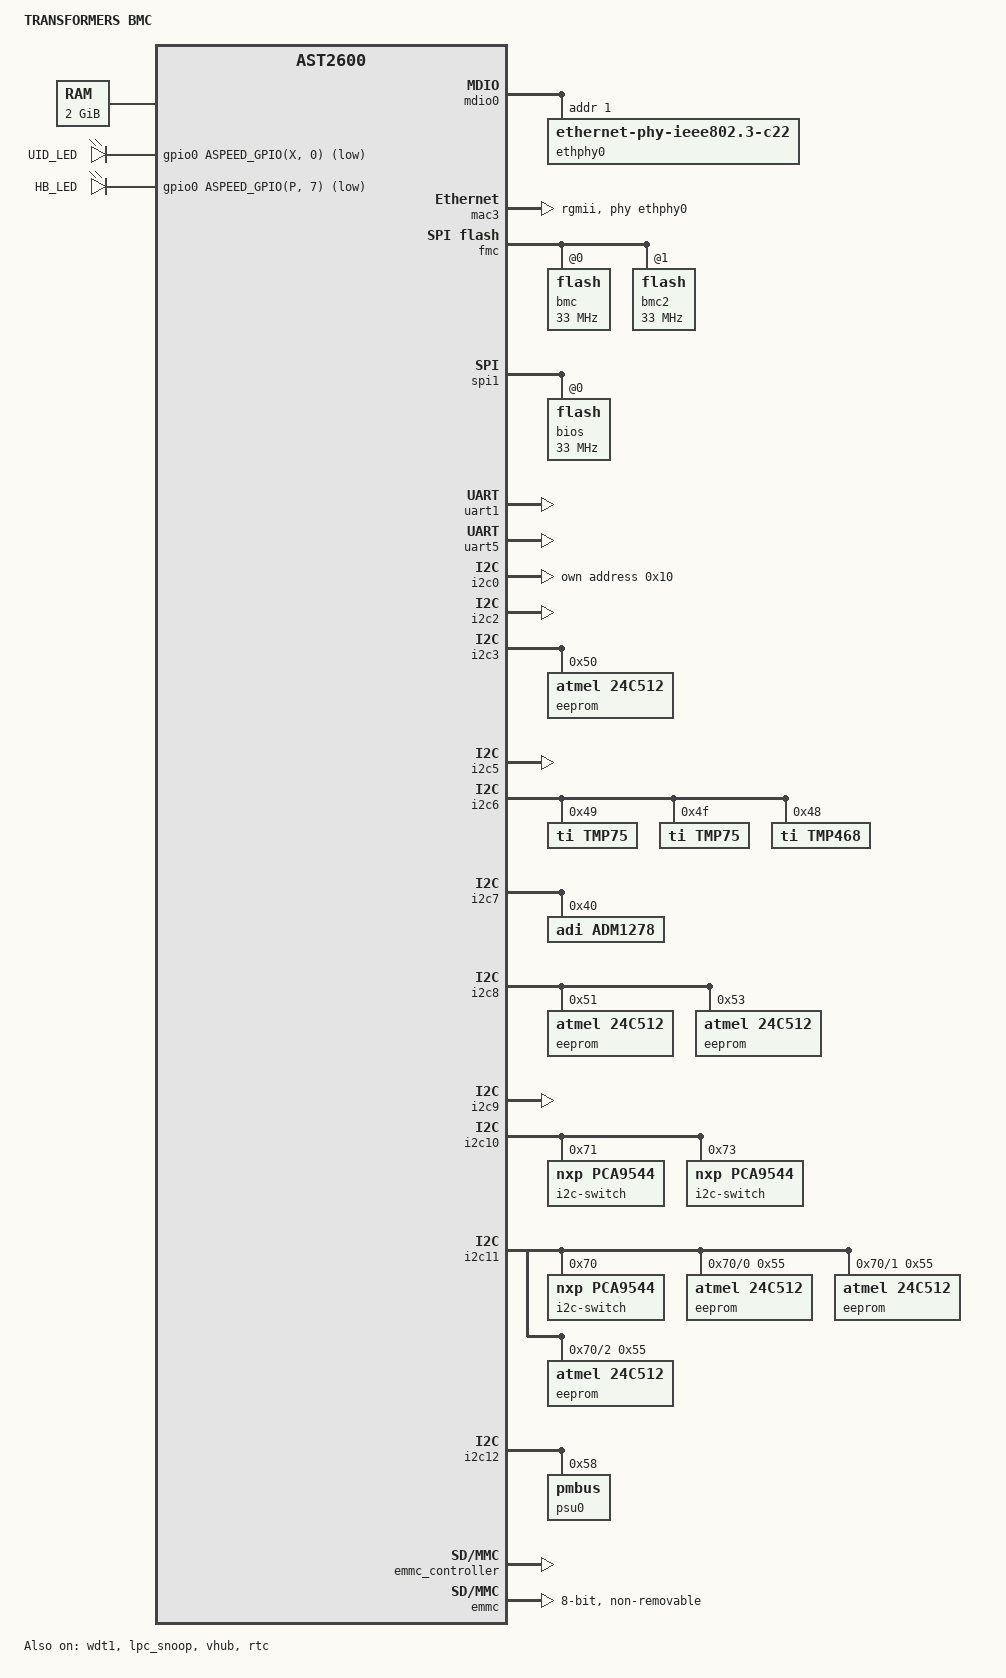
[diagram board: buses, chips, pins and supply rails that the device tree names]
// SPDX-License-Identifier: GPL-2.0-or-later
// Copyright 2021 Inventec Corp.

/dts-v1/;

#include "aspeed-g6.dtsi"
#include "aspeed-g6-pinctrl.dtsi"
#include <dt-bindings/i2c/i2c.h>
#include <dt-bindings/gpio/aspeed-gpio.h>

/ {
       model = "TRANSFORMERS BMC";
       compatible = "inventec,transformer-bmc", "aspeed,ast2600";

       aliases {
               serial4 = &uart5;
       };

       chosen {
               stdout-path = &uart5;
               bootargs = "console=ttyS4,115200n8";
       };

       memory@80000000 {
               device_type = "memory";
               reg = <0x80000000 0x80000000>;
       };

       leds {
               compatible = "gpio-leds";

               // UID led
               uid {
                       label = "UID_LED";
                       gpios = <&gpio0 ASPEED_GPIO(X, 0) GPIO_ACTIVE_LOW>;
               };

               // Heart beat led
               heartbeat {
                       label = "HB_LED";
                       gpios = <&gpio0 ASPEED_GPIO(P, 7) GPIO_ACTIVE_LOW>;
               };
       };
};

&mdio0 {
       status = "okay";

       ethphy0: ethernet-phy@0 {
               compatible = "ethernet-phy-ieee802.3-c22";
               reg = <1>;
       };
};

&mac3 {
       status = "okay";
       phy-mode = "rgmii";
       phy-handle = <&ethphy0>;
       pinctrl-names = "default";
       pinctrl-0 = <&pinctrl_rgmii4_default>;
};

&fmc {
       status = "okay";

       flash@0 {
               status = "okay";
               m25p,fast-read;
               label = "bmc";
               spi-max-frequency = <33000000>;
               spi-tx-bus-width = <2>;
               spi-rx-bus-width = <2>;
#include "openbmc-flash-layout.dtsi"
       };

       flash@1 {
               status = "okay";
               m25p,fast-read;
               label = "bmc2";
               spi-max-frequency = <33000000>;
               spi-tx-bus-width = <2>;
               spi-rx-bus-width = <2>;
       };
};

&spi1 {
       status = "okay";
       pinctrl-names = "default";
       pinctrl-0 = <&pinctrl_spi1_default>;

       flash@0 {
               status = "okay";
               m25p,fast-read;
               label = "bios";
               spi-max-frequency = <33000000>;
               spi-tx-bus-width = <1>;
               spi-rx-bus-width = <1>;
       };
};

&wdt1 {
       status = "okay";
};

&uart1 {
       status = "okay";
};

&uart5 {
       status = "okay";
};

&i2c0 {
       status = "okay";

       //Set bmc' slave address;
       bmc_slave@10 {
               compatible = "ipmb-dev";
               reg = <(0x10 | I2C_OWN_SLAVE_ADDRESS)>;
               i2c-protocol;
       };
};

&i2c2 {
       status = "okay";
};

&i2c3 {
       // FRU AT24C512C-SSHM-T
       status = "okay";
       eeprom@50 {
               compatible = "atmel,24c512";
               reg = <0x50>;
               pagesize = <128>;
       };
};

&i2c5 {
       status = "okay";
};

&i2c6 {
       status = "okay";

       tmp75@49 {
               compatible = "ti,tmp75";
               reg = <0x49>;
       };

       tmp75@4f {
               compatible = "ti,tmp75";
               reg = <0x4f>;
       };

       tmp468@48 {
               compatible = "ti,tmp468";
               reg = <0x48>;
       };
};

&i2c7 {
       status = "okay";
       adm1278@40 {
               compatible = "adi,adm1278";
               reg = <0x40>;
       };
};


&i2c8 {
       // FRU AT24C512C-SSHM-T
       status = "okay";

       eeprom@51 {
               compatible = "atmel,24c512";
               reg = <0x51>;
               pagesize = <128>;
       };

       eeprom@53 {
               compatible = "atmel,24c512";
               reg = <0x53>;
               pagesize = <128>;
       };
};

&i2c9 {
       // M.2
       status = "okay";
};

&i2c10 {
       // I2C EXPANDER
       status = "okay";

       i2c-switch@71 {
               compatible = "nxp,pca9544";
               #address-cells = <1>;
               #size-cells = <0>;
               reg = <0x71>;
       };

       i2c-switch@73 {
               compatible = "nxp,pca9544";
               #address-cells = <1>;
               #size-cells = <0>;
               reg = <0x73>;
       };
};

&i2c11 {
       // I2C EXPANDER
       status = "okay";

       i2c-switch@70 {
               compatible = "nxp,pca9544";
               #address-cells = <1>;
               #size-cells = <0>;
               reg = <0x70>;

               pcie_eeprom_riser1: i2c@0 {
                       #address-cells = <1>;
                       #size-cells = <0>;
                       reg = <0>;

                       eeprom@55 {
                               compatible = "atmel,24c512";
                               reg = <0x55>;
                               pagesize = <128>;
                       };
               };

               pcie_eeprom_riser2: i2c@1 {
                       #address-cells = <1>;
                       #size-cells = <0>;
                       reg = <1>;

                       eeprom@55 {
                               compatible = "atmel,24c512";
                               reg = <0x55>;
                               pagesize = <128>;
                       };
               };

               pcie_eeprom_riser3: i2c@2 {
                       #address-cells = <1>;
                       #size-cells = <0>;
                       reg = <2>;

                       eeprom@55 {
                               compatible = "atmel,24c512";
                               reg = <0x55>;
                               pagesize = <128>;
                       };
               };
       };
};

&i2c12 {
       status = "okay";

       psu0:psu0@58 {
               compatible = "pmbus";
               reg = <0x58>;
       };
};

&gpio0 {
       status = "okay";
       gpio-line-names =
       /*A0-A7*/   "","","","","","","","",
       /*B0-B7*/   "presence-ps0","power-chassis-good","","","","","presence-ps1","",
       /*C0-C7*/   "","","","","","","","",
       /*D0-D7*/   "","","","","","","","",
       /*E0-E7*/   "","","","","","","","",
       /*F0-F7*/   "","","","","power-chassis-control","","","",
       /*G0-G7*/   "","","jtag-mux","","","","","",
       /*H0-H7*/   "","","","","reset-button","power-button","","",
       /*I0-I7*/   "","","","","","","","",
       /*J0-J7*/   "","","","","","","","",
       /*K0-K7*/   "","","","","","","","",
       /*L0-L7*/   "","","","","","","","",
       /*M0-M7*/   "","","","","","","","",
       /*N0-N7*/   "","","","","","","","",
       /*O0-O7*/   "","","","","","","","",
       /*P0-P7*/   "","","","tck-mux","","","","",
       /*Q0-Q7*/   "","","","","","","","",
       /*R0-R7*/   "","","","","","","","",
       /*S0-S7*/   "","","","","","","","",
       /*T0-T7*/   "","","","","","","","",
       /*U0-U7*/   "","nmi-button","","","","","","",
       /*V0-V7*/   "","","","","power-config-full-load","","","",
       /*W0-W7*/   "","","","","","","","",
       /*X0-X7*/   "","","","","","","","",
       /*Y0-Y7*/   "","","","","","","","",
       /*Z0-Z7*/   "","","","","","","","",
       /*AA0-AA7*/ "","","","","","","","",
       /*AB0-AB7*/ "","","","","","","","",
       /*AC0-AC7*/ "","","","","","","","";
};

&lpc_snoop {
       status = "okay";
       snoop-ports = <0x80>;
};

&emmc_controller {
       status = "okay";
};

&emmc {
       status = "okay";
       non-removable;
       max-frequency = <52000000>;
       bus-width = <8>;
};

&vhub {
       status = "okay";
       aspeed,vhub-downstream-ports = <7>;
       aspeed,vhub-generic-endpoints = <21>;
       pinctrl-names = "default";
       pinctrl-0 = <&pinctrl_usb2ad_default>;
};

&rtc {
       status = "okay";
};
